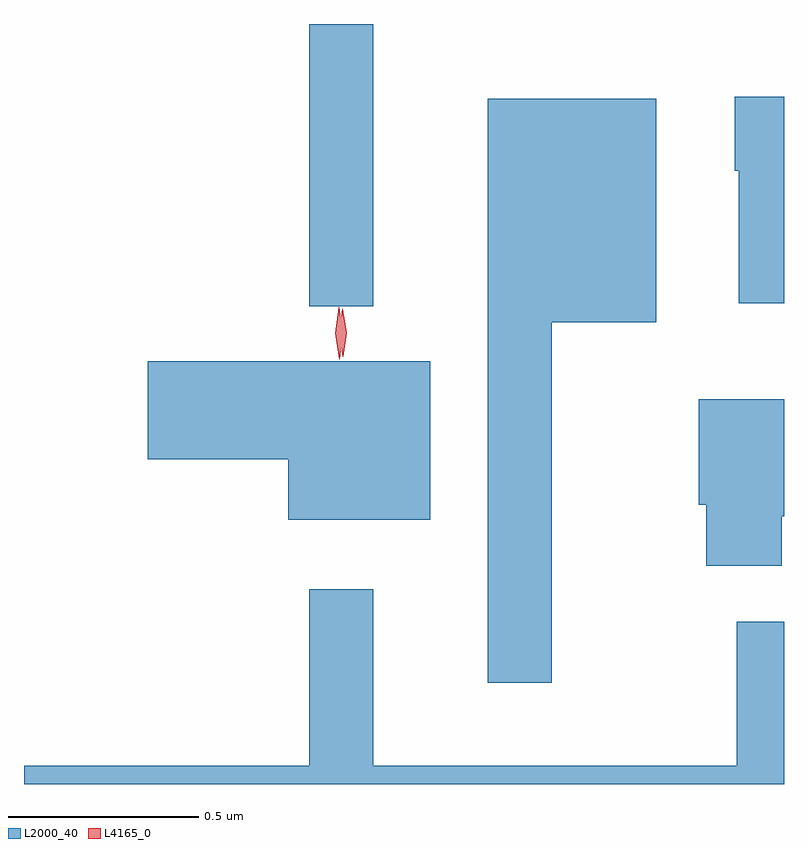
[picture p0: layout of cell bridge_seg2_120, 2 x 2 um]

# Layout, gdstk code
import gdstk
lib = gdstk.Library(unit=1e-6, precision=1e-09)
def R(c, l, rs):  # rectangles x0, y0, x1, y1
    for r in rs: c.add(gdstk.rectangle(r[:2], r[2:], *l))
def P(c, l, *ps):  # polygons
    for p in ps: c.add(gdstk.Polygon(p, *l))
L2000_40 = (2000, 40)
L4165_0 = (4165, 0)

bridge_seg2_120 = lib.new_cell('bridge_seg2_120')
R(bridge_seg2_120, L2000_40, [(884.311,1074.213,884.479,1074.956)])
P(bridge_seg2_120, L2000_40, [(885.56,1074.764),(885.431,1074.764),(885.431,1074.57),(885.441,1074.57),(885.441,1074.221),(885.56,1074.221)],
  [(884.949,1074.171),(885.224,1074.171),(885.224,1074.759),(884.781,1074.759),(884.781,1073.223),(884.949,1073.223)],
  [(884.629,1074.069),(883.886,1074.069),(883.886,1073.811),(884.256,1073.811),(884.256,1073.651),(884.629,1073.651)],
  [(885.554,1073.661),(885.56,1073.661),(885.56,1073.969),(885.336,1073.969),(885.336,1073.691),(885.356,1073.691),(885.356,1073.531),(885.554,1073.531)],
  [(885.56,1073.383),(885.436,1073.383),(885.436,1073.004),(884.479,1073.004),(884.479,1073.468),(884.311,1073.468),(884.311,1073.004),(883.56,1073.004),(883.56,1072.956),(885.56,1072.956)])
P(bridge_seg2_120, L4165_0, [(884.39,1074.074),(884.39,1074.074),(884.379,1074.142),(884.388,1074.21),(884.388,1074.21),(884.389,1074.21),(884.399,1074.142),(884.391,1074.074)],
  [(884.399,1074.08),(884.399,1074.08),(884.389,1074.144),(884.398,1074.206),(884.399,1074.207),(884.399,1074.206),(884.409,1074.144),(884.4,1074.08)])

lib.write_gds('bridge_seg2_120.gds')
